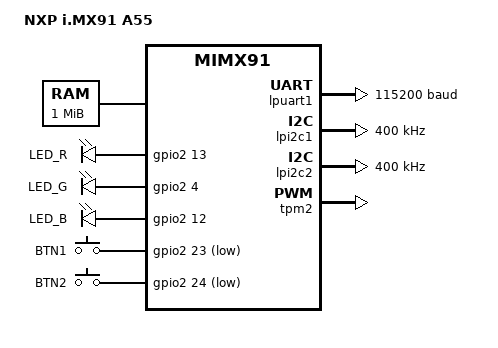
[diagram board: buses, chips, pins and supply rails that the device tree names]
/*
 * Copyright 2025 NXP
 *
 * SPDX-License-Identifier: Apache-2.0
 */

/dts-v1/;

#include <nxp/nxp_mimx91.dtsi>
#include "imx91_evk-pinctrl.dtsi"
#include <zephyr/dt-bindings/input/input-event-codes.h>

/ {
	model = "NXP i.MX91 A55";
	compatible = "fsl,mimx91";

	chosen {
		zephyr,console = &lpuart1;
		zephyr,shell-uart = &lpuart1;
		/* sram node actually locates at DDR DRAM */
		zephyr,sram = &dram;
	};

	dram: memory@80000000 {
		reg = <0x80000000 DT_SIZE_M(1)>;
	};

	aliases {
		led0 = &led_r;
		led1 = &led_g;
		sw0 = &btn_1;
	};

	leds {
		compatible = "gpio-leds";

		led_r: led_r {
			label = "LED_R";
			gpios = <&gpio2 13 GPIO_ACTIVE_HIGH>;
		};

		led_g: led_g {
			label = "LED_G";
			gpios = <&gpio2 4 GPIO_ACTIVE_HIGH>;
		};

		led_b: led_b {
			label = "LED_B";
			gpios = <&gpio2 12 GPIO_ACTIVE_HIGH>;
		};
	};

	keys {
		compatible = "gpio-keys";

		btn_1: btn_1 {
			label = "BTN1";
			gpios = <&gpio2 23 GPIO_ACTIVE_LOW>;
			zephyr,code = <INPUT_KEY_0>;
		};

		btn_2: btn_2 {
			label = "BTN2";
			gpios = <&gpio2 24 GPIO_ACTIVE_LOW>;
			zephyr,code = <INPUT_KEY_1>;
		};
	};
};

&lpuart1 {
	status = "okay";
	current-speed = <115200>;
	pinctrl-0 = <&uart1_default>;
	pinctrl-names = "default";
};

&gpio2 {
	status = "okay";
};

&lpi2c1 {
	clock-frequency = <I2C_BITRATE_FAST>;
	pinctrl-0 = <&i2c1_default>;
	pinctrl-names = "default";
	status = "okay";
};

&lpi2c2 {
	clock-frequency = <I2C_BITRATE_FAST>;
	pinctrl-0 = <&i2c2_default>;
	pinctrl-names = "default";
	status = "okay";
};

&tpm2 {
	status = "okay";
};
